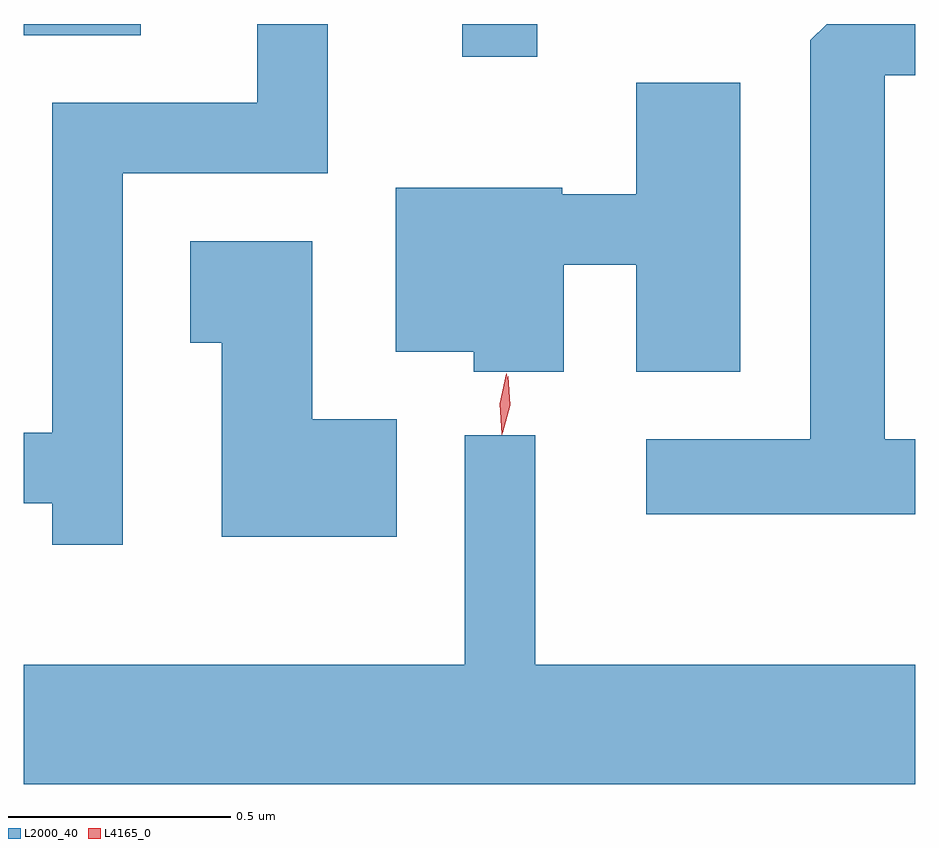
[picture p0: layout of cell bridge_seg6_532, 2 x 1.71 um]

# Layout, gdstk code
import gdstk
lib = gdstk.Library(unit=1e-6, precision=1e-09)
def R(c, l, rs):  # rectangles x0, y0, x1, y1
    for r in rs: c.add(gdstk.rectangle(r[:2], r[2:], *l))
def P(c, l, *ps):  # polygons
    for p in ps: c.add(gdstk.Polygon(p, *l))
L2000_40 = (2000, 40)
L4165_0 = (4165, 0)

bridge_seg6_532 = lib.new_cell('bridge_seg6_532')
R(bridge_seg6_532, L2000_40, [(882.751,1598.288,882.919,1598.361), (881.767,1598.336,882.029,1598.361)])
P(bridge_seg6_532, L2000_40, [(881.989,1598.026),(882.449,1598.026),(882.449,1598.361),(882.291,1598.361),(882.291,1598.184),(881.831,1598.184),(881.831,1597.444),(881.767,1597.444),(881.767,1597.286),(881.831,1597.286),(881.831,1597.193),(881.989,1597.193)],
  [(883.767,1597.429),(883.699,1597.429),(883.699,1598.246),(883.767,1598.246),(883.767,1598.361),(883.568,1598.361),(883.531,1598.324),(883.531,1597.429),(883.163,1597.429),(883.163,1597.261),(883.767,1597.261)],
  [(882.979,1597.821),(883.141,1597.821),(883.141,1597.581),(883.374,1597.581),(883.374,1598.229),(883.141,1598.229),(883.141,1597.979),(882.975,1597.979),(882.975,1597.994),(882.601,1597.994),(882.601,1597.626),(882.776,1597.626),(882.776,1597.581),(882.979,1597.581)],
  [(882.604,1597.474),(882.414,1597.474),(882.414,1597.874),(882.141,1597.874),(882.141,1597.646),(882.211,1597.646),(882.211,1597.211),(882.604,1597.211)],
  [(883.767,1596.924),(882.914,1596.924),(882.914,1597.438),(882.756,1597.438),(882.756,1596.924),(881.767,1596.924),(881.767,1596.656),(883.767,1596.656)])
P(bridge_seg6_532, L4165_0, [(882.839,1597.44),(882.839,1597.441),(882.835,1597.509),(882.85,1597.576),(882.85,1597.576),(882.851,1597.576),(882.855,1597.507),(882.84,1597.441)],
  [(882.841,1597.443),(882.841,1597.444),(882.837,1597.508),(882.853,1597.571),(882.854,1597.571),(882.854,1597.571),(882.858,1597.506),(882.842,1597.444)])

lib.write_gds('bridge_seg6_532.gds')
